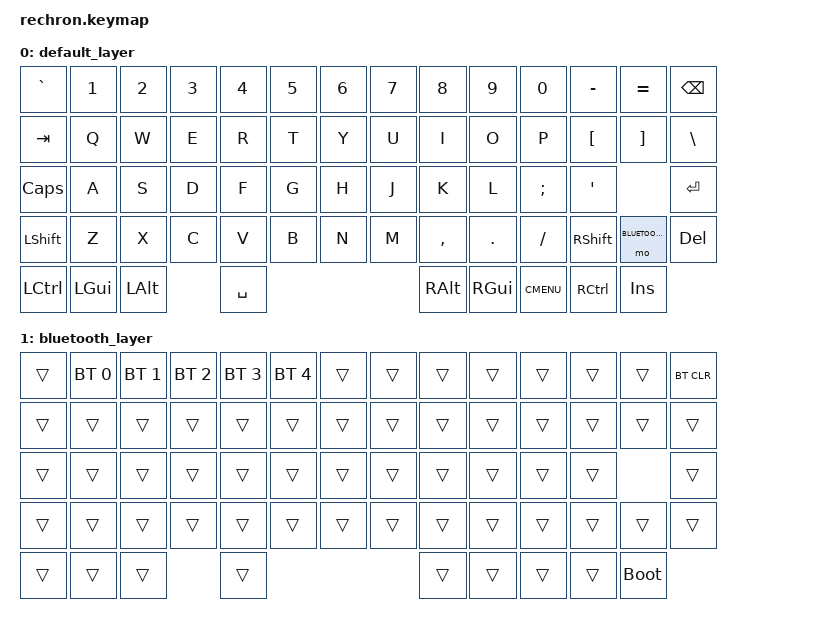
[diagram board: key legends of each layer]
#include <behaviors.dtsi>
#include <dt-bindings/zmk/keys.h>
#include <dt-bindings/zmk/bt.h>

/ { 
    keymap {
        compatible = "zmk,keymap";
        
        default_layer {
            bindings = <
                &kp GRAVE  &kp N1    &kp N2    &kp N3    &kp N4    &kp N5    &kp N6    &kp N7    &kp N8    &kp N9    &kp N0    &kp MINUS &kp EQUAL &kp BSPC
                &kp TAB    &kp Q     &kp W     &kp E     &kp R     &kp T     &kp Y     &kp U     &kp I     &kp O     &kp P     &kp LBKT  &kp RBKT  &kp BSLH
                &kp CAPS   &kp A     &kp S     &kp D     &kp F     &kp G     &kp H     &kp J     &kp K     &kp L     &kp SEMI  &kp SQT             &kp RET
                &kp LSHFT  &kp Z     &kp X     &kp C     &kp V     &kp B     &kp N     &kp M     &kp COMMA &kp DOT   &kp FSLH  &kp RSHFT &mo BLUETOOTH &kp DEL
                &kp LCTRL  &kp LGUI  &kp LALT            &kp SPACE                             &kp RALT  &kp RGUI  &kp K_CMENU &kp RCTRL &kp INS
            >;
        };
        
     bluetooth_layer {
            bindings = <
                &trans     &bt BT_SEL 0 &bt BT_SEL 1 &bt BT_SEL 2 &bt BT_SEL 3 &bt BT_SEL 4 &trans &trans &trans &trans &trans &trans &trans &bt BT_CLR
                &trans     &trans       &trans       &trans       &trans       &trans       &trans &trans &trans &trans &trans &trans &trans &trans
                &trans     &trans       &trans       &trans       &trans       &trans       &trans &trans &trans &trans &trans &trans        &trans
                &trans     &trans       &trans       &trans       &trans       &trans       &trans &trans &trans &trans &trans &trans &trans &trans
                &trans     &trans       &trans                    &trans                             &trans &trans &trans &trans &bootloader
            >;
        };
    };
};
